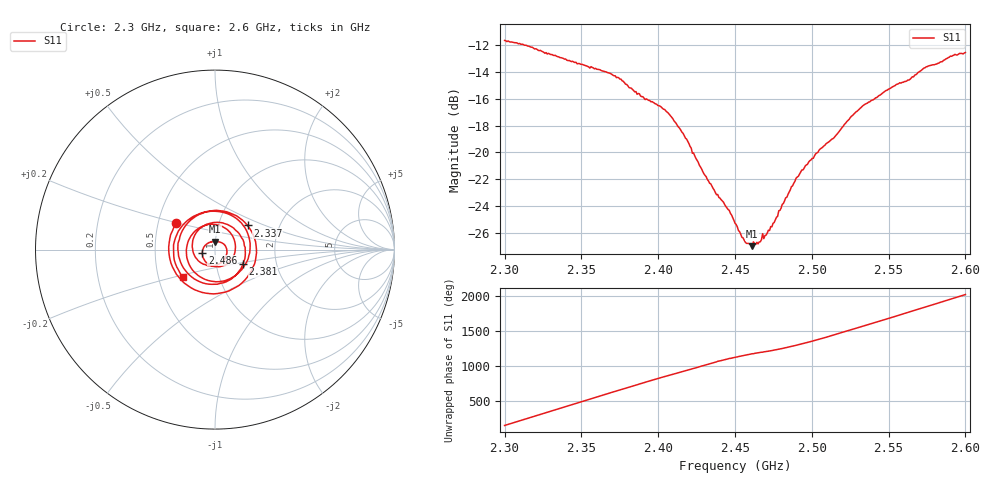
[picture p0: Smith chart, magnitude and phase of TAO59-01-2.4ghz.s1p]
! NanoVNA-App
! Date: 2026-05-23 15:23:00
! Start: 2.3GHz Stop: 2.6GHz Points: 401
! S-Parameter data: F S11
# Hz S RI R 50
!  Frequency  S11_Real  S11_Imag
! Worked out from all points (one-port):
!   401 points, 2.3 GHz to 2.6 GHz, reference 50 ohm
!   lowest |S11| = -27.0 dB at 2.461 GHz (marker M1), VSWR 1.09, Z = 49.6 + j4.44 ohm
!   |S11| at or under -10 dB: start of sweep to end of sweep
!   S11 on the Smith chart (normalised r, x): 2.3 GHz: 0.62, +0.20; 2.337 GHz: 1.38, +0.39; 2.381 GHz: 1.35, -0.22; 2.486 GHz: 0.87, -0.03; 2.6 GHz: 0.67, -0.21
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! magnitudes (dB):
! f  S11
! 2.3 GHz  -11.6
! 2.337 GHz  -12.9
! 2.337 GHz  -13.0
! 2.368 GHz  -14.1
! 2.375 GHz  -14.5
! 2.381 GHz  -15.2
! 2.403 GHz  -16.7
! 2.413 GHz  -18.0
! 2.42 GHz  -19.3
! 2.43 GHz  -21.7
! 2.446 GHz  -24.3
! 2.45 GHz  -25.3
! 2.456 GHz  -26.5
! 2.461 GHz  -27.0
! 2.465 GHz  -26.8
! 2.471 GHz  -26.0
! 2.476 GHz  -25.0
! 2.486 GHz  -22.8
! 2.487 GHz  -22.5
! 2.497 GHz  -20.9
! 2.515 GHz  -18.8
! 2.525 GHz  -17.4
! 2.534 GHz  -16.5
! 2.554 GHz  -15.0
! 2.562 GHz  -14.6
! 2.575 GHz  -13.6
! 2.592 GHz  -12.8
! 2.6 GHz  -12.5
